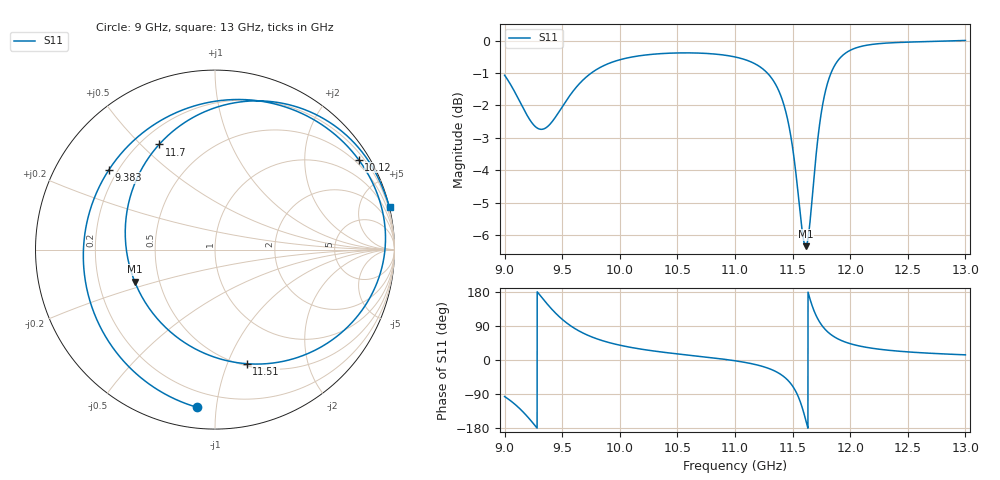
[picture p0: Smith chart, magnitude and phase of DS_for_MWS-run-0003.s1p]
! TOUCHSTONE file generated by CST DESIGN STUDIO
! Date and time: Tue Feb  4 15:38:46 2025
! Project name: C:\Work\MatlabApps\UnitCellOptimizationMatlab\CST\unitcell.cst
! Tree item: Tasks\Sweep1\SPara1\S-Parameters
! Header version: 2024
! Port assignment regex: !\s*Touchstone port\s*([0-9]+)\s*=\s*(CST MWS port|CST DES external port|CST DES block port)\s*(.+)\s* \(\"(.*)\"\)(\s*mode\s*([0-9]+))?.*
! Touchstone port assignment:
! Touchstone port 1 = CST DES external port 1 ("")
# GHz S MA R 50
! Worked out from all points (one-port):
!   4001 points, 9 GHz to 13 GHz, reference 50 ohm
!   lowest |S11| = -6.3 dB at 11.61 GHz (marker M1), VSWR 2.86, Z = 18 - j8.36 ohm
!   |S11| at or under -10 dB: nowhere
!   S11 on the Smith chart (normalised r, x): 9 GHz: 0.11, -0.89; 9.383 GHz: 0.17, +0.32; 10.12 GHz: 0.37, +3.44; 11.51 GHz: 0.52, -1.18; 11.7 GHz: 0.27, +0.57; 13 GHz: -0.02, +8.37
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9  0.8842 -96.4
9.112  0.8179 -122.9
9.226  0.7514 -159.1
9.303  0.7302 172.4
9.383  0.7395 143.2
9.5  0.7903 107.4
9.6  0.838 84.8
9.732  0.8855 64.0
10  0.9342 39.1
10.118  0.9442 32.1
10.5  0.9571 16.1
11  0.9435 -2.0
11.198  0.9156 -13.5
11.329  0.8694 -26.8
11.423  0.7974 -43.7
11.5  0.6838 -68.8
11.512  0.6599 -74.5
11.564  0.5453 -108.0
11.614  0.4817 -158.3
11.656  0.5362 155.9
11.703  0.6634 118.0
11.746  0.7677 94.8
11.796  0.8507 76.7
11.886  0.9278 56.9
12  0.9661 43.1
12.192  0.9867 30.9
12.5  0.9945 21.4
13  1 13.6
